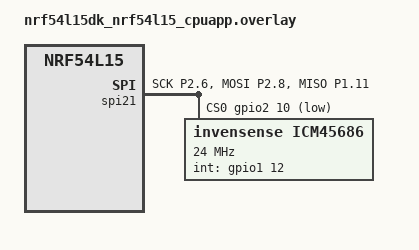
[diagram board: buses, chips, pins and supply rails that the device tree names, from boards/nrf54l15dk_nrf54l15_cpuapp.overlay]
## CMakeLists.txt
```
# SPDX-License-Identifier: Apache-2.0

cmake_minimum_required(VERSION 3.20.0)

find_package(Zephyr REQUIRED HINTS $ENV{ZEPHYR_BASE})
project(edge_ml)

# Verify that this sample is built through sysbuild to ensure MCUboot is
# automatically included and that sample specific MCUboot configurations are
# used when building MCUboot.
test_sysbuild()

include_directories(${CMAKE_CURRENT_SOURCE_DIR}/src/neuton-ai/neuton/include)
include_directories(${CMAKE_CURRENT_SOURCE_DIR}/src/neuton-ai)
include_directories(${CMAKE_CURRENT_SOURCE_DIR}/include)

target_sources(app PRIVATE
	src/ble.c
	src/bsp.c
	src/channel.c
	src/imu_sample_collector.c
	src/inference_runner.c
	src/logger.c
	src/main.c
)

zephyr_link_libraries(${CMAKE_CURRENT_LIST_DIR}/src/neuton-ai/neuton/lib/libneuton_arm_cortex-m33.a)
```

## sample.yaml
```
sample:
  description: Edge ML sample for nRF54L15DK
  name: Edge ML Sample
common:
  tags: introduction
  sysbuild: true
  integration_platforms:
    - nrf54l15dk/nrf54l15/cpuapp
tests:
  sample.edge_ml:
    tags: introduction
```

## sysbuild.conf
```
# Sysbuild configuration file.

# SB_CONFIG_BOOTLOADER_MCUBOOT=y
SB_CONFIG_REMOTE_BOARD="nrf54l15dk/nrf54l15/cpuflpr/xip"
```

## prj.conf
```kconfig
CONFIG_ASSERT=y
CONFIG_LOG=y
CONFIG_LOG_CMDS=y
# CONFIG_SHELL=y

CONFIG_LED=y
CONFIG_GPIO=y
CONFIG_SPI=y
# CONFIG_SPI_SHELL=y
CONFIG_SENSOR=y
# CONFIG_SENSOR_SHELL=y
# CONFIG_SENSOR_SHELL_STREAM=y

# CONFIG_ICM45686_STREAM=y
CONFIG_ICM45686_TRIGGER_OWN_THREAD=y

CONFIG_FPU=y
CONFIG_ZBUS=y

# Increased stack due to settings API usage
CONFIG_SYSTEM_WORKQUEUE_STACK_SIZE=2048

CONFIG_BT=y
CONFIG_BT_PERIPHERAL=y
CONFIG_BT_ATT_PREPARE_COUNT=8
CONFIG_BT_DEVICE_NAME="EdgeML"
CONFIG_BT_DEVICE_NAME_DYNAMIC=y
CONFIG_BT_DEVICE_NAME_MAX=8
CONFIG_BT_L2CAP_TX_MTU=247
CONFIG_BT_BUF_ACL_RX_SIZE=251
CONFIG_BT_BUF_ACL_TX_SIZE=251
CONFIG_BT_BUF_ACL_TX_COUNT=4
CONFIG_BT_PERIPHERAL_PREF_MIN_INT=12
CONFIG_BT_PERIPHERAL_PREF_MAX_INT=12

CONFIG_FLASH=y
CONFIG_FLASH_MAP=y
CONFIG_NVS=y
CONFIG_SETTINGS=y
```

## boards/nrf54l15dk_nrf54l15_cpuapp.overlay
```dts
#include <zephyr/dt-bindings/sensor/icm45686.h>

&pinctrl {
	spi21_default_alt: spi21_default_alt {
		group1 {
			psels = <NRF_PSEL(SPIM_SCK, 2, 6)>,
				<NRF_PSEL(SPIM_MOSI, 2, 8)>,
				<NRF_PSEL(SPIM_MISO, 1, 11)>;
		};
	};

	spi21_sleep_alt: spi21_sleep_alt {
		group1 {
			psels = <NRF_PSEL(SPIM_SCK, 2, 6)>,
				<NRF_PSEL(SPIM_MOSI, 2, 8)>,
				<NRF_PSEL(SPIM_MISO, 1, 11)>;
			low-power-enable;
		};
	};
};

&spi21 {
	status = "okay";
	pinctrl-0 = <&spi21_default_alt>;
	pinctrl-1 = <&spi21_sleep_alt>;
	pinctrl-names = "default", "sleep";
	cs-gpios = <&gpio2 10 GPIO_ACTIVE_LOW>;
	icm45686@0 {
		compatible = "invensense,icm45686";
		spi-max-frequency = <24000000>;
		reg = <0>;
		int-gpios = <&gpio1 12 GPIO_ACTIVE_HIGH>;
		accel-pwr-mode = <ICM45686_DT_ACCEL_LN>;
		accel-fs = <ICM45686_DT_ACCEL_FS_8>;
		accel-odr = <ICM45686_DT_ACCEL_ODR_100>;
		gyro-pwr-mode= <ICM45686_DT_GYRO_LN>;
		gyro-fs = <ICM45686_DT_GYRO_FS_4000>;
		gyro-odr = <ICM45686_DT_GYRO_ODR_100>;
		fifo-watermark = <100>;
	};
};

&gpio1 {
	status = "okay";
};

&gpio2 {
	status = "okay";
};

&cpuflpr_vpr {
	status = "okay";
};

/ {
	soc {
		reserved-memory {
			#address-cells = <1>;
			#size-cells = <1>;
			cpuflpr_code_partition: image@165000 {
				/* FLPR core code partition */
				reg = <0x165000 DT_SIZE_K(96)>;
			};
		};
	};
};

&uart30 {
	status = "reserved";
};

&cpuflpr_vpr {
	execution-memory = <&cpuflpr_code_partition>;
};

&cpuapp_vevif_tx {
	status = "okay";
};
```

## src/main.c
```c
#include <stdio.h>
#include <zephyr/kernel.h>
#include <zephyr/drivers/gpio.h>

int main(void)
{
	printk("EdgeML Demo %s\n", CONFIG_BOARD_TARGET);
	return 0;
}
```

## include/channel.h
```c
#pragma once

#include <messages.h>
#include <zephyr/zbus/zbus.h>

ZBUS_CHAN_DECLARE(imu_sample_data_chan);

ZBUS_CHAN_DECLARE(inference_result_chan);

ZBUS_CHAN_DECLARE(demo_event_chan);
```

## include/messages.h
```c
#pragma once

#include <stdint.h>
#include <stdbool.h>

enum gesture_id {
	GESTURE_STATE_IDLE_ID = 0,
	GESTURE_STATE_RANDOM_ID,
	GESTURE_STATE_CLOCKWISE_ID,
	GESTURE_STATE_COUNTERCLOCKWISE_ID,
	GESTURE_STATE_RIGHT_SWIPE_ID,
	GESTURE_STATE_LEFT_SWIPE_ID,
	GESTURE_STATE_DOUBLE_TAP_ID,
	GESTURE_STATE_MAX_ID,
};

struct imu_sample_data {
	uint16_t sequence;
	struct {
		int16_t x;
		int16_t y;
		int16_t z;
	} acc;
	struct {
		int16_t x;
		int16_t y;
		int16_t z;
	} gyro;
};

struct demo_state {
	bool inference_active;
	bool streaming_data;
};

struct gesture_inference_result {
	uint8_t count;
	uint8_t gesture_id_highest;
	uint8_t gesture_id_confidence[GESTURE_STATE_MAX_ID];
};

enum demo_event_id {
	DEMO_EVENT_INFERENCE_START_ID,
	DEMO_EVENT_INFERENCE_STOP_ID,
	DEMO_EVENT_COLLECTION_START_ID,
	DEMO_EVENT_COLLECTION_STOP_ID,
	DEMO_EVENT_BLE_CONNECTED_ID,
	DEMO_EVENT_BLE_DISCONNECTED_ID,
};

struct demo_event {
	enum demo_event_id event_id;
	void *arg;
};
```

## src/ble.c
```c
/* main.c - Application main entry point */

/*
 * Copyright (c) 2015-2016 Intel Corporation
 *
 * SPDX-License-Identifier: Apache-2.0
 */

#include <zephyr/types.h>
#include <stddef.h>
#include <string.h>
#include <errno.h>
#include <zephyr/sys/printk.h>
#include <zephyr/sys/byteorder.h>
#include <zephyr/kernel.h>
#include <zephyr/settings/settings.h>
#include <zephyr/bluetooth/bluetooth.h>
#include <zephyr/bluetooth/hci.h>
#include <zephyr/bluetooth/conn.h>
#include <zephyr/bluetooth/uuid.h>
#include <zephyr/bluetooth/gatt.h>
#include <channel.h>

/* Randomly generated service guid */
#define BT_UUID_EDGEML_SERVICE_VAL \
	BT_UUID_128_ENCODE(0x735297ee, 0x7e18, 0x4bf1, 0xacc2, 0xa1a98e6e963a)
#define BT_UUID_EDGEML_SERVICE_DATA_STREAM_CHAR_VAL \
	BT_UUID_128_ENCODE(0x735297ee, 0x7e18, 0x4bf1, 0xacc3, 0xa1a98e6e963a)
#define BT_UUID_EDGEML_SERVICE_INFERENCE_STREAM_CHAR_VAL \
	BT_UUID_128_ENCODE(0x735297ee, 0x7e18, 0x4bf1, 0xacc4, 0xa1a98e6e963a)
#define BT_UUID_EDGEML_SERVICE_INFERENCE_CTRL_VAL \
	BT_UUID_128_ENCODE(0x735297ee, 0x7e18, 0x4bf1, 0xacc5, 0xa1a98e6e963a)

static const struct bt_uuid_128 edge_ml_svc_uid = BT_UUID_INIT_128(
	BT_UUID_EDGEML_SERVICE_VAL);
static const struct bt_uuid_128 edge_ml_data_stream_uid = BT_UUID_INIT_128(
	BT_UUID_EDGEML_SERVICE_DATA_STREAM_CHAR_VAL);
static const struct bt_uuid_128 edge_ml_inference_stream_uid = BT_UUID_INIT_128(
	BT_UUID_EDGEML_SERVICE_INFERENCE_STREAM_CHAR_VAL);
static const struct bt_uuid_128 edge_ml_inference_ctrl_uid = BT_UUID_INIT_128(
	BT_UUID_EDGEML_SERVICE_INFERENCE_CTRL_VAL);

static bool data_streaming;
static bool inference_streaming;
static bool inference_running;
static uint16_t mtu_size = 23 - 3; // Default MTU size

static void edge_ml_data_stream_ccc_cfg_changed(const struct bt_gatt_attr *attr, uint16_t value)
{
	data_streaming = (value == BT_GATT_CCC_NOTIFY);
	printk("Data streaming %s\n", data_streaming ? "enabled" : "disabled");
}

static void edge_ml_inference_stream_ccc_cfg_changed(const struct bt_gatt_attr *attr,
	uint16_t value)
{
	inference_streaming = (value == BT_GATT_CCC_NOTIFY);
	printk("Inference streaming %s\n", inference_streaming ? "enabled" : "disabled");
}

static ssize_t edge_ml_inference_ctrl_read(struct bt_conn *conn, const struct bt_gatt_attr *attr,
					   void *buf, uint16_t len, uint16_t offset)
{
	const char *value = (const char *)&inference_running;

	return bt_gatt_attr_read(conn, attr, buf, len, offset, value, sizeof(inference_running));
}

static ssize_t edge_ml_inference_ctrl_write(struct bt_conn *conn,
						const struct bt_gatt_attr *attr,
						const void *buf, uint16_t len, uint16_t offset,
						uint8_t flags)
{
	int err;
	struct demo_event event = {.arg = NULL};

	if (offset + len > sizeof(inference_running)) {
		return BT_GATT_ERR(BT_ATT_ERR_INVALID_OFFSET);
	}

	event.event_id = ((uint8_t *)buf)[offset]
				 ? DEMO_EVENT_INFERENCE_START_ID
				 : DEMO_EVENT_INFERENCE_STOP_ID,
	err = zbus_chan_pub(&demo_event_chan, &event, K_NO_WAIT);
	__ASSERT_NO_MSG(err == 0);

	return len;
}

/* Vendor Primary Service Declaration */
BT_GATT_SERVICE_DEFINE(edge_ml_svc,
			   BT_GATT_PRIMARY_SERVICE(&edge_ml_svc_uid),
			   /* data stream characterstic */
			   BT_GATT_CHARACTERISTIC(&edge_ml_data_stream_uid.uuid,
						  BT_GATT_CHRC_NOTIFY,
						  BT_GATT_PERM_NONE,
						  NULL, NULL, NULL),
			   BT_GATT_CCC(edge_ml_data_stream_ccc_cfg_changed,
				   BT_GATT_PERM_READ | BT_GATT_PERM_WRITE),
			   /* inference result stream */
			   BT_GATT_CHARACTERISTIC(&edge_ml_inference_stream_uid.uuid,
						  BT_GATT_CHRC_NOTIFY,
						  BT_GATT_PERM_NONE,
						  NULL, NULL, NULL),
			   BT_GATT_CCC(edge_ml_inference_stream_ccc_cfg_changed,
				   BT_GATT_PERM_READ | BT_GATT_PERM_WRITE),
			   /* inference start stop control */
			   BT_GATT_CHARACTERISTIC(&edge_ml_inference_ctrl_uid.uuid,
						  BT_GATT_CHRC_READ | BT_GATT_CHRC_WRITE,
						  BT_GATT_PERM_READ | BT_GATT_PERM_WRITE,
						  edge_ml_inference_ctrl_read,
						  edge_ml_inference_ctrl_write,
						  NULL),
			);

void mtu_updated(struct bt_conn *conn, uint16_t tx, uint16_t rx)
{
	printk("Updated MTU: TX: %d RX: %d bytes\n", tx, rx);
	mtu_size = tx - 3; // Subtract 3 bytes for ATT header
}

static struct bt_gatt_cb gatt_callbacks = {
	.att_mtu_updated = mtu_updated,
};

static const struct bt_data ad[] = {
	BT_DATA_BYTES(BT_DATA_FLAGS, (BT_LE_AD_GENERAL | BT_LE_AD_NO_BREDR)),
	BT_DATA(BT_DATA_NAME_COMPLETE, CONFIG_BT_DEVICE_NAME, sizeof(CONFIG_BT_DEVICE_NAME) - 1),
	BT_DATA_BYTES(BT_DATA_UUID128_ALL, BT_UUID_EDGEML_SERVICE_VAL),
};

static void bt_advertise(void)
{
	int err;

	err = bt_le_adv_start(BT_LE_ADV_CONN_FAST_1, ad, ARRAY_SIZE(ad), NULL, 0);
	__ASSERT_NO_MSG(err == 0);
}

static void connected(struct bt_conn *conn, uint8_t reason)
{
	int err;
	struct demo_event event = {
		.event_id = reason ? DEMO_EVENT_BLE_DISCONNECTED_ID : DEMO_EVENT_BLE_CONNECTED_ID,
		.arg = NULL};

	err = zbus_chan_pub(&demo_event_chan, &event, K_NO_WAIT);
	__ASSERT_NO_MSG(err == 0);
}

static void disconnected(struct bt_conn *conn, uint8_t reason)
{
	int err;
	struct demo_event event = {.event_id = DEMO_EVENT_BLE_DISCONNECTED_ID, .arg = NULL};

	err = zbus_chan_pub(&demo_event_chan, &event, K_NO_WAIT);
	__ASSERT_NO_MSG(err == 0);
}

BT_CONN_CB_DEFINE(conn_callbacks) = {
	.connected = connected,
	.disconnected = disconnected,
};

ZBUS_SUBSCRIBER_DEFINE(ble_sub, 10);
ZBUS_CHAN_ADD_OBS(imu_sample_data_chan, ble_sub, 10);
ZBUS_CHAN_ADD_OBS(inference_result_chan, ble_sub, 10);
ZBUS_CHAN_ADD_OBS(demo_event_chan, ble_sub, 10);

void bt_gatt_notify_with_mtu(struct bt_conn *conn, const struct bt_gatt_attr *attr,
				 const uint8_t *data, uint16_t len)
{
	int err;
	uint16_t chunk_len;

	while (len > 0) {
		chunk_len = MIN(len, mtu_size);
		err = bt_gatt_notify(conn, attr, data, chunk_len);
		if (err) {
			printk("Notification failed: %d\n", err);
			return;
		}
		data += chunk_len;
		len -= chunk_len;
	}
}

static void ble_thread_func(void)
{
	int err;
	const struct zbus_channel *chan;

	err = bt_enable(NULL);
	__ASSERT_NO_MSG(err == 0);

	if (IS_ENABLED(CONFIG_SETTINGS)) {
		settings_load();
	}

	bt_advertise();

	bt_gatt_cb_register(&gatt_callbacks);

	while (1) {
		err = zbus_sub_wait(&ble_sub, &chan, K_FOREVER);
		__ASSERT_NO_MSG(!err);

		if ((chan == &imu_sample_data_chan) && data_streaming) {
			const struct imu_sample_data *data;

			err = zbus_chan_read(chan, &data, K_MSEC(10));
			__ASSERT_NO_MSG(!err);
			bt_gatt_notify_with_mtu(NULL, &edge_ml_svc.attrs[1],
						(uint8_t *)data, sizeof(*data));
		} else if ((chan == &inference_result_chan) && inference_streaming) {
			const struct gesture_inference_result *result;

			err = zbus_chan_read(chan, &result, K_MSEC(10));
			__ASSERT_NO_MSG(!err);
			bt_gatt_notify_with_mtu(NULL, &edge_ml_svc.attrs[4],
						(uint8_t *)result, sizeof(*result));
		} else if (chan == &demo_event_chan) {
			struct demo_event event;

			err = zbus_chan_read(chan, &event, K_MSEC(10));
			__ASSERT_NO_MSG(!err);
			switch (event.event_id) {
			case DEMO_EVENT_INFERENCE_START_ID:
				inference_running = true;
				break;
			case DEMO_EVENT_INFERENCE_STOP_ID:
				inference_running = false;
				break;
			case DEMO_EVENT_BLE_DISCONNECTED_ID:
				bt_advertise();
				break;
			default:
				break;
			}
		}
	}
}

K_THREAD_DEFINE(ble_thread, 1024, ble_thread_func, NULL, NULL, NULL,
		K_IDLE_PRIO - 1, 0, 0);
```

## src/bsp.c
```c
#include <zephyr/kernel.h>
#include <zephyr/drivers/gpio.h>
#include <zephyr/zbus/zbus.h>
#include <channel.h>

#define LED0_NODE DT_ALIAS(led0)
#define LED1_NODE DT_ALIAS(led1)
#define LED2_NODE DT_ALIAS(led2)
#define LED3_NODE DT_ALIAS(led3)
#define BTN0_NODE DT_ALIAS(sw0)
#define BTN1_NODE DT_ALIAS(sw1)
#define BTN2_NODE DT_ALIAS(sw2)
#define BTN3_NODE DT_ALIAS(sw3)

enum bsp_led_id {
	INFERENCE_STATE_LED = 0,
	COLLECTION_STATE_LED,
	BLE_CONNECTED_LED,
};

enum bsp_button_id {
	INFERENCE_TOGGLE_BUTTON = 0,
	COLLECTION_TOGGLE_BUTTON,
};

static const struct gpio_dt_spec leds[] = {
	GPIO_DT_SPEC_GET(LED0_NODE, gpios),
	GPIO_DT_SPEC_GET(LED1_NODE, gpios),
	GPIO_DT_SPEC_GET(LED2_NODE, gpios),
	GPIO_DT_SPEC_GET(LED3_NODE, gpios),
};
static const struct gpio_dt_spec buttons[] = {
	GPIO_DT_SPEC_GET(BTN0_NODE, gpios),
	GPIO_DT_SPEC_GET(BTN1_NODE, gpios),
	GPIO_DT_SPEC_GET(BTN2_NODE, gpios),
	GPIO_DT_SPEC_GET(BTN3_NODE, gpios),
};
static struct gpio_callback button_cb_data[4];

int bsp_led_set(uint8_t led_id, uint8_t state)
{
	return gpio_pin_set_dt(&leds[led_id], state);
}

int bsp_led_get(uint8_t led_id)
{
	return gpio_pin_get_dt(&leds[led_id]);
}

static void button_pressed_cb(const struct device *dev, struct gpio_callback *cb, uint32_t pins)
{
	int err;
	struct demo_event event;

	event.arg = NULL;
	for (int i = 0; i < 4; i++) {
		if (pins & BIT(buttons[i].pin)) {
			switch (i) {
			case INFERENCE_TOGGLE_BUTTON:
				event.event_id = (bsp_led_get(INFERENCE_STATE_LED) == 1)
							 ? DEMO_EVENT_INFERENCE_STOP_ID
							 : DEMO_EVENT_INFERENCE_START_ID;
				err = zbus_chan_pub(&demo_event_chan, &event, K_NO_WAIT);
				__ASSERT_NO_MSG(err == 0);
				break;
			case COLLECTION_TOGGLE_BUTTON:
				event.event_id = (bsp_led_get(COLLECTION_STATE_LED) == 1)
							 ? DEMO_EVENT_COLLECTION_STOP_ID
							 : DEMO_EVENT_COLLECTION_START_ID;
				err = zbus_chan_pub(&demo_event_chan, &event, K_NO_WAIT);
				__ASSERT_NO_MSG(err == 0);
				break;
			}
		}
	}
}

static void demo_event_handler(const struct zbus_channel *chan)
{
	const struct demo_event *event_data = zbus_chan_const_msg(chan);

	switch (event_data->event_id) {
	case DEMO_EVENT_INFERENCE_START_ID:
		bsp_led_set(INFERENCE_STATE_LED, 1);
		break;
	case DEMO_EVENT_INFERENCE_STOP_ID:
		bsp_led_set(INFERENCE_STATE_LED, 0);
		break;
	case DEMO_EVENT_COLLECTION_START_ID:
		bsp_led_set(COLLECTION_STATE_LED, 1);
		break;
	case DEMO_EVENT_COLLECTION_STOP_ID:
		bsp_led_set(COLLECTION_STATE_LED, 0);
		break;
	case DEMO_EVENT_BLE_CONNECTED_ID:
		bsp_led_set(BLE_CONNECTED_LED, 1);
		break;
	case DEMO_EVENT_BLE_DISCONNECTED_ID:
		bsp_led_set(BLE_CONNECTED_LED, 0);
		break;
	default:
		break;
	}
}

ZBUS_LISTENER_DEFINE(demo_event_chan_listener, demo_event_handler);
ZBUS_CHAN_ADD_OBS(demo_event_chan, demo_event_chan_listener, 3);

int bsp_init(void)
{
	int ret;

	// Configure all LEDs
	for (int i = 0; i < 4; i++) {
		if (!gpio_is_ready_dt(&leds[i])) {
			return -ENODEV;
		}
		ret = gpio_pin_configure_dt(&leds[i], GPIO_OUTPUT_INACTIVE);
		if (ret < 0)
			return ret;
	}

	// Configure all buttons
	for (int i = 0; i < 4; i++) {
		if (!gpio_is_ready_dt(&buttons[i])) {
			return -ENODEV;
		}

		ret = gpio_pin_configure_dt(&buttons[i], GPIO_INPUT);
		if (ret < 0)
			return ret;

		ret = gpio_pin_interrupt_configure_dt(&buttons[i], GPIO_INT_EDGE_RISING);
		if (ret < 0)
			return ret;

		gpio_init_callback(&button_cb_data[i], button_pressed_cb, BIT(buttons[i].pin));
		gpio_add_callback(buttons[i].port, &button_cb_data[i]);
	}

	return 0;
}

SYS_INIT(bsp_init, APPLICATION, CONFIG_APPLICATION_INIT_PRIORITY);
```

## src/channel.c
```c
#include <channel.h>

ZBUS_CHAN_DEFINE(imu_sample_data_chan,
		 const struct imu_sample_data *,
		 NULL,
		 NULL,
		 ZBUS_OBSERVERS_EMPTY,
		 ZBUS_MSG_INIT(0));

ZBUS_CHAN_DEFINE(inference_result_chan,
		 const struct gesture_inference_result *,
		 NULL,
		 NULL,
		 ZBUS_OBSERVERS_EMPTY,
		 ZBUS_MSG_INIT(0));

ZBUS_CHAN_DEFINE(demo_event_chan,
		 struct demo_event,
		 NULL,
		 NULL,
		 ZBUS_OBSERVERS_EMPTY,
		 ZBUS_MSG_INIT(0));
```

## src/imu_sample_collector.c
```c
#include <zephyr/kernel.h>
#include <zephyr/device.h>
#include <zephyr/drivers/sensor.h>
#include <stdio.h>
#include <zephyr/logging/log.h>
#include <channel.h>

LOG_MODULE_REGISTER(imu_collector, CONFIG_LOG_DEFAULT_LEVEL);

#define SLEEP_TIME_MS 20

static struct imu_sample_data imu_sample_data;
static struct imu_sample_data *imu_sample_data_ptr = &imu_sample_data;

static int sensor_value_to_int16(const struct sensor_value *val)
{
	double v = sensor_value_to_double(val) * 1000;
	// Convert sensor_value to int16, assuming val1 is the main value
	if (((int)v) < INT16_MIN) {
		return INT16_MIN;
	} else if (((int)v) > INT16_MAX) {
		return INT16_MAX;
	} else {
		return (int16_t)v;
	}
}

static int process_icm45686(const struct device *dev)
{
	struct sensor_value accel[3];
	struct sensor_value gyro[3];

	int rc = sensor_sample_fetch(dev);

	if (rc == 0) {
		rc = sensor_channel_get(dev, SENSOR_CHAN_ACCEL_XYZ, accel);
	}
	if (rc == 0) {
		rc = sensor_channel_get(dev, SENSOR_CHAN_GYRO_XYZ, gyro);
	}
	if (rc == 0) {
		imu_sample_data.sequence++;
		imu_sample_data.acc.x = sensor_value_to_int16(&accel[0]);
		imu_sample_data.acc.y = sensor_value_to_int16(&accel[1]);
		imu_sample_data.acc.z = sensor_value_to_int16(&accel[2]);
		imu_sample_data.gyro.x = sensor_value_to_int16(&gyro[0]);
		imu_sample_data.gyro.y = sensor_value_to_int16(&gyro[1]);
		imu_sample_data.gyro.z = sensor_value_to_int16(&gyro[2]);

		rc = zbus_chan_pub(&imu_sample_data_chan, &imu_sample_data_ptr, K_MSEC(1));
		__ASSERT_NO_MSG(!rc);
	}

	return rc;
}

static void handle_icm45686_drdy(const struct device *dev,
				 const struct sensor_trigger *trig)
{
	int rc = process_icm45686(dev);

	if (rc != 0) {
		printf("cancelling trigger due to failure: %d\n", rc);
		(void)sensor_trigger_set(dev, trig, NULL);
		return;
	}
}

static int imu_collector_trigger(void)
{
	const struct device *const icm45686 = DEVICE_DT_GET_ONE(invensense_icm45686);
	static struct sensor_trigger data_trigger;

	if (!device_is_ready(icm45686)) {
		LOG_ERR("Device %s is not ready", icm45686->name);
		return -ENODEV;
	}

	data_trigger = (struct sensor_trigger){
	    .type = SENSOR_TRIG_DATA_READY,
	    .chan = SENSOR_CHAN_ALL,
	};

	if (sensor_trigger_set(icm45686, &data_trigger, handle_icm45686_drdy) < 0) {
		printf("Cannot configure data trigger!!!\n");
		return -EIO;
	}

	return 0;
}

SYS_INIT(imu_collector_trigger, APPLICATION, CONFIG_APPLICATION_INIT_PRIORITY);
```

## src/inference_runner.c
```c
/**
 * @file inference_runner.c
 * @author Anuj Pathak (anuj@biii.in)
 * @brief
 * @version 0.1
 * @date 2025-07-11
 *
 * @copyright Copyright (c) 2025 BIII TECH LLP
 *
 */
#include <zephyr/kernel.h>
#include <neuton/neuton.h>
#include <neuton/neuton_version.h>
#include <channel.h>

ZBUS_SUBSCRIBER_DEFINE(inference_sub, 10);
ZBUS_CHAN_ADD_OBS(imu_sample_data_chan, inference_sub, 10);
ZBUS_CHAN_ADD_OBS(demo_event_chan, inference_sub, 10);

static struct gesture_inference_result inference_result;
const struct gesture_inference_result *inference_result_ptr = &inference_result;

static void inference_runner_thread_func(void)
{
	int err;
	neuton_input_t input_data[6];
	neuton_u16_t predicted_target;
	neuton_input_features_t *nai_input;
	const neuton_output_t *nai_output;
	const struct zbus_channel *ch = NULL;
	struct imu_sample_data *sample_data = NULL;
	bool is_inference_started = false;

	neuton_nn_setup();

	for (;;) {
		err = zbus_sub_wait(&inference_sub, &ch, K_FOREVER);
		__ASSERT_NO_MSG(!err);

		if ((ch == &imu_sample_data_chan) && is_inference_started) {
			err = zbus_chan_read(ch, &sample_data, K_MSEC(10));
			__ASSERT_NO_MSG(!err);
			/* input data copy not required as of now,
			 * but if data format changes it will come handy
			 */
			input_data[0] = sample_data->acc.x;
			input_data[1] = sample_data->acc.y;
			input_data[2] = sample_data->acc.z;
			input_data[3] = sample_data->gyro.x;
			input_data[4] = sample_data->gyro.y;
			input_data[5] = sample_data->gyro.z;
			/* feed input sample data */
			nai_input = neuton_nn_feed_inputs(&sample_data->acc.x, 6);
			if (nai_input) {
				inference_result.count = neuton_nn_run_inference(nai_input,
										 &predicted_target,
										 &nai_output);
				inference_result.gesture_id_highest = predicted_target;
				if (inference_result.count > 0) {
					for (neuton_u16_t i = 0; i < inference_result.count; i++) {
						inference_result.gesture_id_confidence[i] =
						    (nai_output[i] * 100) / 255;
					}
					err = zbus_chan_pub(&inference_result_chan,
							    &inference_result_ptr,
							    K_MSEC(10));
					__ASSERT_NO_MSG(!err);
				}
			} else {
				continue;
			}
		} else if (ch == &demo_event_chan) {
			struct demo_event event;

			err = zbus_chan_read(ch, &event, K_MSEC(10));
			__ASSERT_NO_MSG(!err);
			switch (event.event_id) {
			case DEMO_EVENT_INFERENCE_START_ID:
				is_inference_started = true;
				break;
			case DEMO_EVENT_INFERENCE_STOP_ID:
				is_inference_started = false;
				break;
			default:
				break;
			}
		}
	}
}

K_THREAD_DEFINE(inference_runner_thread, 1024, inference_runner_thread_func, NULL, NULL, NULL,
		K_IDLE_PRIO - 1, 0, 0);
```

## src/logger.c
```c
#include <zephyr/kernel.h>
#include <zephyr/zbus/zbus.h>
#include "channel.h"

ZBUS_SUBSCRIBER_DEFINE(logger_sub, 10);
ZBUS_CHAN_ADD_OBS(imu_sample_data_chan, logger_sub, 10);
ZBUS_CHAN_ADD_OBS(inference_result_chan, logger_sub, 10);
ZBUS_CHAN_ADD_OBS(demo_event_chan, logger_sub, 10);

static void logger_thread_func(void)
{
	const struct zbus_channel *chan;
	int err;
	bool is_inference_started = false;
	bool is_collection_started = false;

	while (1) {
		err = zbus_sub_wait(&logger_sub, &chan, K_FOREVER);
		__ASSERT_NO_MSG(!err);

		if ((chan == &imu_sample_data_chan) && is_collection_started) {
			const struct imu_sample_data *data;

			err = zbus_chan_read(chan, &data, K_MSEC(10));
			__ASSERT_NO_MSG(!err);
			printk("%d,%d,%d,%d,%d,%d,%d\n",
			       data->sequence,
			       data->acc.x, data->acc.y, data->acc.z,
			       data->gyro.x, data->gyro.y, data->gyro.z);
		} else if ((chan == &inference_result_chan) && is_inference_started) {
			const struct gesture_inference_result *result;

			err = zbus_chan_read(chan, &result, K_MSEC(10));
			__ASSERT_NO_MSG(!err);
			printk("[%d]:%d%%\n",
			       result->gesture_id_highest,
			       result->gesture_id_confidence[result->gesture_id_highest]);
		} else if (chan == &demo_event_chan) {
			struct demo_event event;

			err = zbus_chan_read(chan, &event, K_MSEC(10));
			__ASSERT_NO_MSG(!err);
			switch (event.event_id) {
			case DEMO_EVENT_INFERENCE_START_ID:
				is_inference_started = true;
				break;
			case DEMO_EVENT_INFERENCE_STOP_ID:
				is_inference_started = false;
				break;
			case DEMO_EVENT_COLLECTION_START_ID:
				is_collection_started = true;
				break;
			case DEMO_EVENT_COLLECTION_STOP_ID:
				is_collection_started = false;
				break;
			default:
				break;
			}
		}
	}
}

K_THREAD_DEFINE(logger_thread, 1024, logger_thread_func, NULL, NULL, NULL,
		K_IDLE_PRIO - 1, 0, 0);
```
